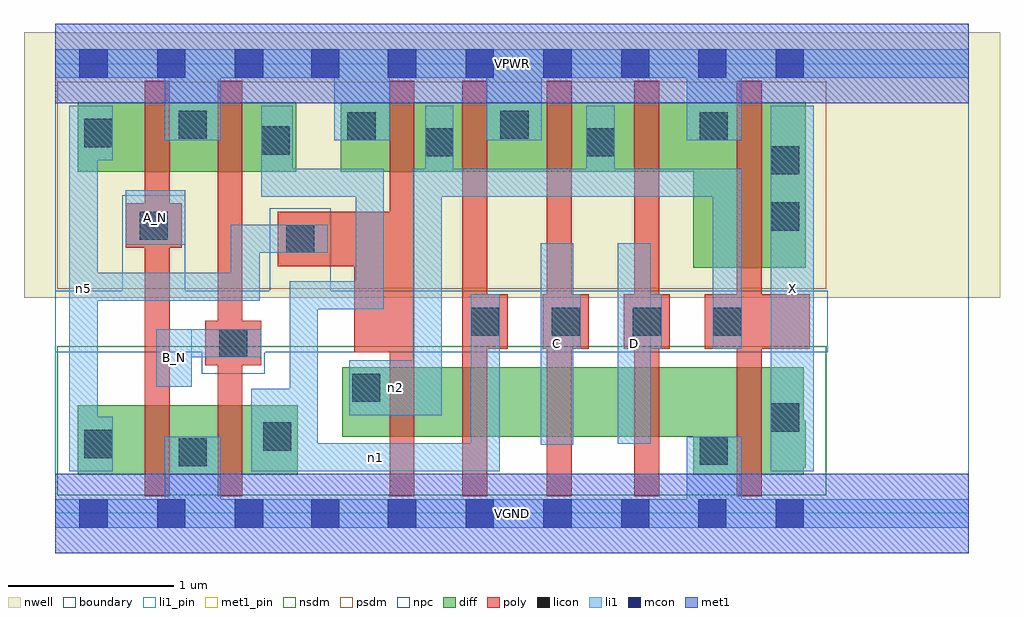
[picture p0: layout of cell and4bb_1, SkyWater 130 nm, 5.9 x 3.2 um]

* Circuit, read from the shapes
.subckt and4bb_1 A_N B_N C D VGND VPWR X n1 n2 n5
XM1 VGND A_N n5 VSUBS sky130_fd_pr__nfet_01v8 w=0.42 l=0.15
XM2 n1 B_N VGND VSUBS sky130_fd_pr__nfet_01v8 w=0.42 l=0.15
XM3 n3 n5 n2 VSUBS sky130_fd_pr__nfet_01v8 w=0.42 l=0.15
XM4 n4 n1 n3 VSUBS sky130_fd_pr__nfet_01v8 w=0.42 l=0.15
XM5 n6 C n4 VSUBS sky130_fd_pr__nfet_01v8 w=0.42 l=0.15
XM6 VGND D n6 VSUBS sky130_fd_pr__nfet_01v8 w=0.42 l=0.15
XM7 X n2 VGND VSUBS sky130_fd_pr__nfet_01v8 w=0.65 l=0.15
XM8 VPWR A_N n5 n7 sky130_fd_pr__pfet_01v8 w=0.42 l=0.15
XM9 n1 B_N VPWR n7 sky130_fd_pr__pfet_01v8 w=0.42 l=0.15
XM10 n2 n5 VPWR n7 sky130_fd_pr__pfet_01v8 w=0.42 l=0.15
XM11 VPWR n1 n2 n7 sky130_fd_pr__pfet_01v8 w=0.42 l=0.15
XM12 n2 C VPWR n7 sky130_fd_pr__pfet_01v8 w=0.42 l=0.15
XM13 VPWR D n2 n7 sky130_fd_pr__pfet_01v8 w=0.42 l=0.15
XM14 X n2 VPWR n7 sky130_fd_pr__pfet_01v8 w=1 l=0.15
.ends

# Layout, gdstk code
import gdstk
lib = gdstk.Library(unit=1e-6, precision=1e-09)
def R(c, l, rs):  # rectangles x0, y0, x1, y1
    for r in rs: c.add(gdstk.rectangle(r[:2], r[2:], *l))
def A(c, l, x, y, w, h, nx, ny, dx, dy):  # array of equal rectangles
    R(c, l, [(x+i*dx, y+j*dy, x+i*dx+w, y+j*dy+h) for i in range(nx) for j in range(ny)])
nwell = (64, 20)
diff = (65, 20)
poly = (66, 20)
licon = (66, 44)
li1_pin = (67, 16)
li1 = (67, 20)
mcon = (67, 44)
met1_pin = (68, 16)
met1 = (68, 20)
nsdm = (93, 44)
psdm = (94, 20)
npc = (95, 20)
boundary = (235, 4)

and4bb_1 = lib.new_cell('and4bb_1')
R(and4bb_1, nwell, [(-0.19,1.305,5.71,2.91), (0,1.305,5.52,2.91)])
R(and4bb_1, diff, [(0.135,0.235,1.465,0.655), (3.855,0.235,4.525,0.885), (3.855,0.275,4.535,0.565), (1.735,0.465,4.525,0.885), (3.855,1.485,4.535,2.485), (0.135,2.065,1.455,2.485), (1.725,2.065,4.535,2.485)])
R(and4bb_1, poly, [(0.54,0.105,0.69,2.615), (0.98,0.105,1.13,2.615), (2.02,0.105,2.17,2.615), (2.46,0.105,2.61,2.615), (2.97,0.105,3.12,2.615), (3.5,0.105,3.65,2.615), (4.12,0.105,4.27,2.615), (0.905,0.895,1.245,1.165), (1.805,0.975,2.17,1.825), (2.46,0.995,2.735,1.325), (2.945,0.995,3.225,1.325), (3.435,0.995,3.715,1.325), (3.925,0.995,4.56,1.325), (1.345,1.495,2.17,1.825), (0.425,1.605,0.765,1.875)])
A(and4bb_1, licon, 2.51, 1.075, 0.17, 0.17, 3, 1, 0.49, 0)
R(and4bb_1, licon, [(0.745,0.285,0.915,0.455), (3.895,0.295,4.065,0.465), (0.175,0.335,0.345,0.505), (1.255,0.38,1.425,0.55), (4.325,0.495,4.495,0.665), (1.795,0.675,1.965,0.845), (0.99,0.945,1.16,1.115), (3.975,1.075,4.145,1.245), (1.395,1.575,1.565,1.745), (0.51,1.655,0.68,1.825), (4.325,1.71,4.495,1.88), (4.325,2.05,4.495,2.22), (2.235,2.16,2.405,2.33), (3.21,2.16,3.38,2.33), (1.245,2.17,1.415,2.34), (0.175,2.215,0.345,2.385), (1.765,2.255,1.935,2.425), (3.895,2.255,4.065,2.425), (0.745,2.265,0.915,2.435), (2.69,2.265,2.86,2.435)])
R(and4bb_1, li1_pin, [(4.325,0.255,4.585,2.465), (2.935,0.415,3.13,1.635), (3.4,0.42,3.6,1.635), (0.61,0.765,0.825,1.115), (0.425,1.625,0.785,1.955)])
R(and4bb_1, li1, [(0,-0.085,5.52,0.085), (0.66,-0.085,1,0.465), (3.815,-0.085,4.15,0.465), (0.085,0.255,0.255,2.465), (0.085,0.255,0.345,0.585), (1.185,0.255,2.685,0.425), (1.185,0.255,1.585,0.755), (1.415,0.255,1.585,1.405), (2.51,0.255,2.685,1.325), (4.325,0.255,4.585,2.465), (2.935,0.415,3.13,1.635), (3.4,0.42,3.6,1.635), (1.775,0.595,2.335,0.925), (2.16,0.595,2.335,2.085), (0.61,0.765,0.825,1.115), (0.61,0.945,1.245,1.115), (2.935,0.995,3.175,1.325), (3.4,0.995,3.665,1.325), (3.975,0.995,4.15,2.085), (1.415,1.235,1.985,1.405), (1.815,1.235,1.985,2.085), (0.085,1.285,1.235,1.455), (1.06,1.285,1.235,1.745), (1.06,1.575,1.645,1.745), (0.425,1.625,0.785,1.955), (1.245,1.915,1.435,2.465), (1.245,1.915,1.985,2.085), (2.16,1.915,4.15,2.085), (2.235,1.915,2.405,2.465), (3.21,1.915,3.38,2.465), (0.085,2.135,0.345,2.465), (0.66,2.255,1,2.805), (1.685,2.255,2.02,2.805), (2.605,2.255,2.94,2.805), (3.815,2.255,4.15,2.805), (0,2.635,5.52,2.805)])
A(and4bb_1, mcon, 0.145, -0.085, 0.17, 0.17, 3, 2, 0.47, 2.72)
A(and4bb_1, mcon, 2.01, -0.085, 0.17, 0.17, 4, 2, 0.47, 2.72)
R(and4bb_1, mcon, [(1.545,-0.085,1.715,0.085), (3.885,-0.085,4.055,0.085), (4.355,-0.085,4.525,0.085), (1.545,2.635,1.715,2.805), (3.885,2.635,4.055,2.805), (4.355,2.635,4.525,2.805)])
R(and4bb_1, met1_pin, [(0,-0.24,5.52,0.24), (0,2.48,5.52,2.96)])
R(and4bb_1, met1, [(0,-0.24,5.52,0.24), (0,2.48,5.52,2.96)])
R(and4bb_1, nsdm, [(0.01,0.11,4.66,1.01)])
R(and4bb_1, psdm, [(0.01,1.36,4.66,2.61)])
R(and4bb_1, npc, [(0.885,0.845,1.265,1.345), (0,0.975,4.67,1.345), (0.405,0.975,0.785,1.925), (1.295,0.975,1.665,1.845)])
R(and4bb_1, boundary, [(0,0,5.52,2.72)])
and4bb_1.add(gdstk.Label('A_N', (0.605,1.79), layer=67, texttype=5))
and4bb_1.add(gdstk.Label('B_N', (0.717,0.94), layer=67, texttype=5))
and4bb_1.add(gdstk.Label('C', (3.032,1.025), layer=67, texttype=5))
and4bb_1.add(gdstk.Label('D', (3.5,1.027), layer=67, texttype=5))
and4bb_1.add(gdstk.Label('X', (4.455,1.36), layer=67, texttype=5))
and4bb_1.add(gdstk.Label('n5', (0.17,1.36), layer=67, texttype=5))
and4bb_1.add(gdstk.Label('n1', (1.935,0.34), layer=67, texttype=5))
and4bb_1.add(gdstk.Label('n2', (2.055,0.76), layer=67, texttype=5))
and4bb_1.add(gdstk.Label('VPWR', (2.76,2.72), layer=68, texttype=5))
and4bb_1.add(gdstk.Label('VGND', (2.76,0), layer=68, texttype=5))
and4bb_1.add(gdstk.Label('A_N', (0.605,1.79), layer=67, texttype=16))
and4bb_1.add(gdstk.Label('B_N', (0.717,0.94), layer=67, texttype=16))
and4bb_1.add(gdstk.Label('C', (3.032,1.025), layer=67, texttype=16))
and4bb_1.add(gdstk.Label('D', (3.5,1.027), layer=67, texttype=16))
and4bb_1.add(gdstk.Label('X', (4.455,1.36), layer=67, texttype=16))
and4bb_1.add(gdstk.Label('VPWR', (2.76,2.72), layer=68, texttype=16))
and4bb_1.add(gdstk.Label('VGND', (2.76,0), layer=68, texttype=16))

lib.write_gds('and4bb_1.gds')
